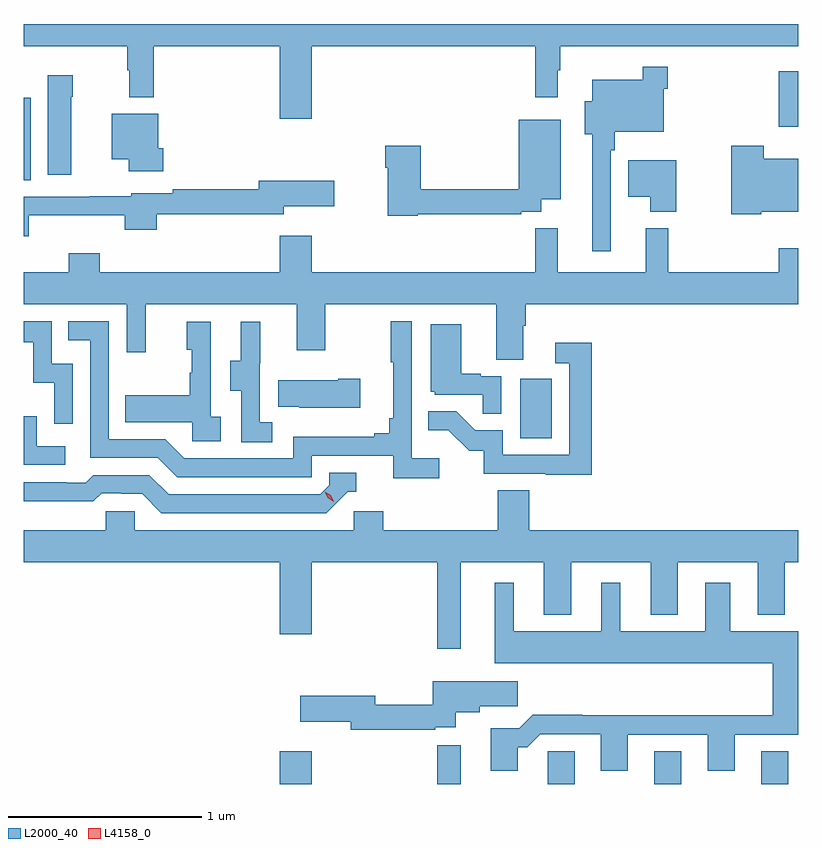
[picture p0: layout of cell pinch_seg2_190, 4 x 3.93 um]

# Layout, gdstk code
import gdstk
lib = gdstk.Library(unit=1e-6, precision=1e-09)
def R(c, l, rs):  # rectangles x0, y0, x1, y1
    for r in rs: c.add(gdstk.rectangle(r[:2], r[2:], *l))
def P(c, l, *ps):  # polygons
    for p in ps: c.add(gdstk.Polygon(p, *l))
L2000_40 = (2000, 40)
L4158_0 = (4158, 0)

pinch_seg2_190 = lib.new_cell('pinch_seg2_190')
R(pinch_seg2_190, L2000_40, [(992.18,662.473,992.344,662.641), (992.994,662.473,993.115,662.674), (993.564,662.473,993.703,662.642), (994.115,662.473,994.255,662.642), (994.667,662.473,994.807,662.642), (993.422,664.26,993.586,664.567), (990.858,665.593,990.892,666.019), (994.757,665.87,994.858,666.157)])
P(pinch_seg2_190, L2000_40, [(992.344,666.284),(993.499,666.284),(993.499,666.021),(993.616,666.021),(993.616,666.161),(993.628,666.161),(993.628,666.284),(994.858,666.284),(994.858,666.4),(990.858,666.4),(990.858,666.284),(991.393,666.284),(991.393,666.161),(991.401,666.161),(991.401,666.021),(991.529,666.021),(991.529,666.284),(992.18,666.284),(992.18,665.91),(992.344,665.91)],
  [(993.891,665.747),(993.911,665.747),(993.911,665.843),(994.164,665.843),(994.164,666.065),(994.184,666.065),(994.184,666.178),(994.056,666.178),(994.056,666.112),(993.794,666.112),(993.794,666.001),(993.755,666.001),(993.755,665.831),(993.794,665.831),(993.794,665.226),(993.891,665.226)],
  [(991.102,666.023),(991.11,666.023),(991.11,666.136),(990.98,666.136),(990.98,665.622),(991.102,665.622)],
  [(991.577,665.757),(991.552,665.757),(991.552,665.935),(991.313,665.935),(991.313,665.702),(991.399,665.702),(991.399,665.639),(991.577,665.639)],
  [(992.892,665.418),(993.428,665.418),(993.428,665.43),(993.532,665.43),(993.532,665.495),(993.631,665.495),(993.631,665.905),(993.416,665.905),(993.416,665.546),(992.909,665.546),(992.909,665.77),(992.726,665.77),(992.726,665.657),(992.738,665.657),(992.738,665.41),(992.892,665.41)],
  [(994.668,665.429),(994.858,665.429),(994.858,665.704),(994.68,665.704),(994.68,665.77),(994.514,665.77),(994.514,665.417),(994.668,665.417)],
  [(994.228,665.695),(993.98,665.695),(993.98,665.507),(994.094,665.507),(994.094,665.429),(994.228,665.429)],
  [(990.882,665.411),(991.379,665.411),(991.379,665.336),(991.544,665.336),(991.544,665.418),(992.2,665.418),(992.2,665.459),(992.461,665.459),(992.461,665.589),(992.072,665.589),(992.072,665.546),(991.627,665.546),(991.627,665.526),(991.413,665.526),(991.413,665.51),(991.198,665.51),(991.198,665.508),(990.858,665.508),(990.858,665.303),(990.882,665.303)],
  [(993.439,664.84),(993.452,664.84),(993.452,664.952),(994.858,664.952),(994.858,665.24),(994.757,665.24),(994.757,665.116),(994.187,665.116),(994.187,665.344),(994.07,665.344),(994.07,665.116),(993.617,665.116),(993.617,665.345),(993.499,665.345),(993.499,665.116),(992.344,665.116),(992.344,665.305),(992.18,665.305),(992.18,665.116),(991.25,665.116),(991.25,665.215),(991.09,665.215),(991.09,665.116),(990.858,665.116),(990.858,664.952),(991.389,664.952),(991.389,664.704),(991.487,664.704),(991.487,664.952),(992.267,664.952),(992.267,664.713),(992.415,664.713),(992.415,664.952),(993.299,664.952),(993.299,664.666),(993.439,664.666)],
  [(993.004,664.156),(992.862,664.156),(992.862,664.864),(992.754,664.864),(992.754,664.651),(992.765,664.651),(992.765,664.363),(992.746,664.363),(992.746,664.286),(992.669,664.286),(992.669,664.267),(992.25,664.267),(992.25,664.155),(991.686,664.155),(991.587,664.254),(991.296,664.254),(991.296,664.863),(991.087,664.863),(991.087,664.767),(991.2,664.767),(991.2,664.158),(991.55,664.158),(991.649,664.059),(992.346,664.059),(992.346,664.17),(992.765,664.17),(992.765,664.054),(993.004,664.054)],
  [(991.11,664.644),(991.002,664.644),(991.002,664.863),(990.858,664.863),(990.858,664.755),(990.905,664.755),(990.905,664.547),(991.014,664.547),(991.014,664.335),(991.11,664.335)],
  [(992.14,664.343),(992.076,664.343),(992.076,664.647),(992.078,664.647),(992.078,664.861),(991.979,664.861),(991.979,664.659),(991.925,664.659),(991.925,664.504),(991.98,664.504),(991.98,664.24),(992.14,664.24)],
  [(991.876,664.37),(991.824,664.37),(991.824,664.861),(991.7,664.861),(991.7,664.716),(991.726,664.716),(991.726,664.598),(991.716,664.598),(991.716,664.483),(991.381,664.483),(991.381,664.343),(991.728,664.343),(991.728,664.245),(991.876,664.245)],
  [(993.324,664.581),(993.218,664.581),(993.218,664.594),(993.118,664.594),(993.118,664.849),(992.96,664.849),(992.96,664.5),(992.982,664.5),(992.982,664.485),(993.229,664.485),(993.229,664.387),(993.324,664.387)],
  [(993.791,664.753),(993.603,664.753),(993.603,664.647),(993.675,664.647),(993.675,664.173),(993.333,664.173),(993.333,664.302),(993.189,664.302),(993.091,664.4),(992.947,664.4),(992.947,664.301),(993.051,664.301),(993.158,664.194),(993.235,664.194),(993.235,664.077),(993.553,664.077),(993.553,664.072),(993.791,664.072)],
  [(992.596,664.566),(992.483,664.566),(992.483,664.558),(992.173,664.558),(992.173,664.421),(992.281,664.421),(992.281,664.418),(992.596,664.418)],
  [(991.072,664.218),(990.924,664.218),(990.924,664.372),(990.858,664.372),(990.858,664.122),(991.072,664.122)],
  [(992.532,663.984),(992.575,663.984),(992.575,664.08),(992.436,664.08),(992.436,664.017),(992.388,663.969),(991.605,663.969),(991.506,664.068),(991.217,664.068),(991.178,664.029),(991.079,664.029),(991.079,664.032),(990.858,664.032),(990.858,663.935),(990.984,663.935),(990.984,663.933),(991.217,663.933),(991.259,663.975),(991.362,663.975),(991.362,663.972),(991.469,663.972),(991.568,663.873),(992.421,663.873)],
  [(993.115,663.62),(993.545,663.62),(993.545,663.347),(993.685,663.347),(993.685,663.62),(994.097,663.62),(994.097,663.347),(994.237,663.347),(994.237,663.62),(994.649,663.62),(994.649,663.347),(994.789,663.347),(994.789,663.62),(994.858,663.62),(994.858,663.784),(993.47,663.784),(993.47,663.992),(993.305,663.992),(993.305,663.784),(992.714,663.784),(992.714,663.882),(992.562,663.882),(992.562,663.784),(991.431,663.784),(991.431,663.882),(991.281,663.882),(991.281,663.784),(990.858,663.784),(990.858,663.62),(992.18,663.62),(992.18,663.246),(992.344,663.246),(992.344,663.62),(992.994,663.62),(992.994,663.171),(993.115,663.171)],
  [(993.409,662.663),(993.458,662.663),(993.525,662.73),(993.839,662.73),(993.839,662.541),(993.979,662.541),(993.979,662.727),(994.391,662.727),(994.391,662.541),(994.531,662.541),(994.531,662.727),(994.858,662.727),(994.858,663.262),(994.507,663.262),(994.507,663.514),(994.379,663.514),(994.379,663.262),(993.94,663.262),(993.94,663.514),(993.842,663.514),(993.842,663.262),(993.388,663.262),(993.388,663.514),(993.29,663.514),(993.29,663.098),(994.727,663.098),(994.727,662.828),(993.743,662.828),(993.743,662.831),(993.488,662.831),(993.418,662.761),(993.269,662.761),(993.269,662.541),(993.409,662.541)],
  [(992.984,662.766),(993.088,662.766),(993.088,662.843),(993.214,662.843),(993.214,662.875),(993.409,662.875),(993.409,663.004),(992.971,663.004),(992.971,662.882),(992.674,662.882),(992.674,662.93),(992.286,662.93),(992.286,662.795),(992.546,662.795),(992.546,662.754),(992.984,662.754)])
P(pinch_seg2_190, L4158_0, [(992.46,663.932),(992.429,663.951),(992.413,663.984),(992.413,663.984),(992.413,663.984),(992.444,663.965),(992.46,663.932),(992.46,663.932)])

lib.write_gds('pinch_seg2_190.gds')
